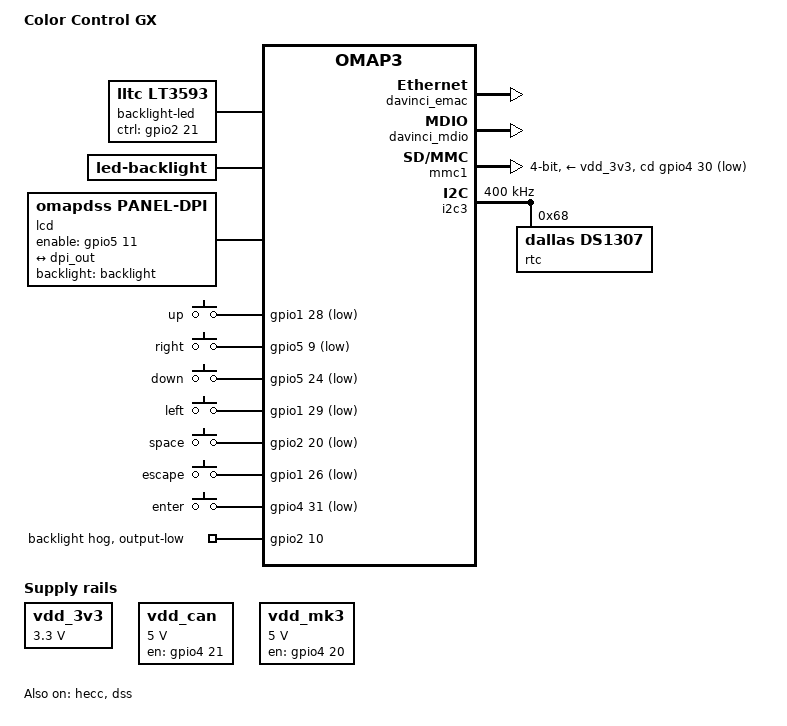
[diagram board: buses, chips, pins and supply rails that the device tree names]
/dts-v1/;

#include "am3517-tam3517.dtsi"
#include <dt-bindings/input/input.h>
#include <dt-bindings/leds/common.h>

/ {
	model = "Color Control GX";
	compatible = "technexion,am3517-tam3517", "ti,am3517", "ti,omap3";

	aliases {
		display0 = &lcd0;
	};

	reserved-memory {
		#address-cells = <1>;
		#size-cells = <1>;
		ranges;

		fb0_mem: framebuffer@8fe00000 {
			reg = <0x8fe00000 0x200000>;
			no-map;
		};
	};

	backlight-led {
		compatible = "lltc,lt3593";
		pinctrl-names = "default";
		pinctrl-0 = <&backlight_pins>;
		lltc,ctrl-gpios = <&gpio2 21 GPIO_ACTIVE_HIGH>;

		backlight_led: led {
			function = LED_FUNCTION_BACKLIGHT;
			color = <LED_COLOR_ID_WHITE>;
			default-state = "on";
		};
	};

	backlight: backlight {
		compatible = "led-backlight";
		leds = <&backlight_led>;
		default-brightness-level = <31>;
	};

	lcd0: display {
		compatible = "omapdss,panel-dpi";
		pinctrl-names = "default";
		pinctrl-0 = <&lcd_pins>;
		enable-gpios = <&gpio5 11 GPIO_ACTIVE_HIGH>;	/* gpio_139 */
		backlight = <&backlight>;
		label = "lcd";

		port {
			lcd_in: endpoint {
				remote-endpoint = <&dpi_out>;
			};
		};

		panel-timing {
			clock-frequency = <9000000>;
			hactive = <480>;
			vactive = <272>;
			hfront-porch = <3>;
			hback-porch = <2>;
			hsync-len = <42>;
			vback-porch = <2>;
			vfront-porch = <3>;
			vsync-len = <11>;
			hsync-active = <0>;
			vsync-active = <0>;
			de-active = <1>;
			pixelclk-active = <1>;
		};
	};

	gpio-keys {
		compatible = "gpio-keys";
		pinctrl-names = "default";
		pinctrl-0 = <&gpio_keys_pins &gpio_keys_pins2>;
		autorepeat;

		key-up {
			label = "up";
			gpios = <&gpio1 28 GPIO_ACTIVE_LOW>;	/* gpio_28 */
			linux,code = <KEY_UP>;
			wakeup-source;
		};

		key-right {
			label = "right";
			gpios = <&gpio5 9 GPIO_ACTIVE_LOW>;	/* gpio_137 */
			linux,code = <KEY_RIGHT>;
			wakeup-source;
		};

		key-down {
			label = "down";
			gpios = <&gpio5 24 GPIO_ACTIVE_LOW>;	/* gpio_152 */
			linux,code = <KEY_DOWN>;
			wakeup-source;
		};

		key-left {
			label = "left";
			gpios = <&gpio1 29 GPIO_ACTIVE_LOW>;	/* gpio_29 */
			linux,code = <KEY_LEFT>;
			wakeup-source;
		};

		key-middle {
			label = "space";
			gpios = <&gpio2 20 GPIO_ACTIVE_LOW>;	/* gpio_52 */
			linux,code = <KEY_SPACE>;
			wakeup-source;
		};

		key-escape {
			label = "escape";
			gpios = <&gpio1 26 GPIO_ACTIVE_LOW>;	/* gpio_26 */
			linux,code = <KEY_ESC>;
			wakeup-source;
		};

		key-enter {
			label = "enter";
			gpios = <&gpio4 31 GPIO_ACTIVE_LOW>;	/* gpio_127 */
			linux,code = <KEY_ENTER>;
			wakeup-source;
		};
	};

	vdd_3v3: regulator-vdd-3v3 {
		compatible = "regulator-fixed";
		regulator-name = "vdd_3v3";
		regulator-min-microvolt = <3300000>;
		regulator-max-microvolt = <3300000>;
	};

	vdd_can: regulator-vdd-can {
		compatible = "regulator-fixed";
		pinctrl-names = "default";
		pinctrl-0 = <&vdd_can_pins>;
		regulator-name = "vdd_can";
		regulator-min-microvolt = <5000000>;
		regulator-max-microvolt = <5000000>;
		gpio = <&gpio4 21 GPIO_ACTIVE_HIGH>;	/* gpio_117 */
		enable-active-high;
	};

	regulator-vdd-mk3 {
		compatible = "regulator-fixed";
		pinctrl-names = "default";
		pinctrl-0 = <&vdd_mk3_pins>;
		regulator-name = "vdd_mk3";
		regulator-min-microvolt = <5000000>;
		regulator-max-microvolt = <5000000>;
		regulator-boot-on;
		regulator-always-on;
		gpio = <&gpio4 20 GPIO_ACTIVE_HIGH>;	/* gpio_116 */
		enable-active-high;
	};
};

&omap3_pmx_core {
	pinctrl-names = "default";
	pinctrl-0 = <&gpio_pins>;

	gpio_pins: gpio_pins {
		pinctrl-single,pins = <
			/* buzzer */
			OMAP3_CORE1_IOPAD(0x207c, PIN_OUTPUT_PULLDOWN | MUX_MODE4)	/* gpio_35 */

			/* hw revision */
			OMAP3_CORE1_IOPAD(0x21e4, PIN_INPUT | MUX_MODE4)	/* gpio_94 */
			OMAP3_CORE1_IOPAD(0x21e8, PIN_INPUT | MUX_MODE4)	/* gpio_96 */
			OMAP3_CORE1_IOPAD(0x21ec, PIN_INPUT | MUX_MODE4)	/* gpio_98 */

			/* vebus_standby */
			OMAP3_CORE1_IOPAD(0x2186, PIN_OUTPUT_PULLUP | MUX_MODE4)	/* gpio_153 */

			/* mk3_rst */
			OMAP3_CORE1_IOPAD(0x218a, PIN_OUTPUT_PULLDOWN | MUX_MODE4)	/* gpio_155 */

			/* relay */
			OMAP3_CORE1_IOPAD(0x21de, PIN_OUTPUT_PULLDOWN | MUX_MODE4)	/* gpio_182 */

			/* backlight enable */
			OMAP3_CORE1_IOPAD(0x208A, PIN_OUTPUT | MUX_MODE4)	/* gpmc_a9.gpio_42 */

		>;
	};

	backlight_pins: backlight_pins {
		pinctrl-single,pins = <
			OMAP3_CORE1_IOPAD(0x20B2, PIN_OUTPUT | MUX_MODE4)	/* gpmc_ncs2.gpio_53 */
		>;
	};

	gpio_keys_pins: gpio_keys_pins {
		pinctrl-single,pins = <
			OMAP3_CORE1_IOPAD(0x20B0, PIN_INPUT_PULLUP | MUX_MODE4) /* gpio_52, middle */
			OMAP3_CORE1_IOPAD(0x2166, PIN_INPUT_PULLUP | MUX_MODE4) /* gpio_137, right */
			OMAP3_CORE1_IOPAD(0x2184, PIN_INPUT_PULLUP | MUX_MODE4) /* gpio_152, down */
			OMAP3_CORE1_IOPAD(0x2152, PIN_INPUT_PULLUP | MUX_MODE4) /* gpio_127, enter */
		>;
	};

	i2c3_pins: i2c3_pins {
		pinctrl-single,pins = <
			OMAP3_CORE1_IOPAD(0x21c2, PIN_INPUT_PULLUP | MUX_MODE0) /* i2c3_scl.i2c3_scl */
			OMAP3_CORE1_IOPAD(0x21c4, PIN_INPUT_PULLUP | MUX_MODE0) /* i2c3_sda.i2c3_sda */
		>;
	};

	mmc1_pins: mmc1_pins {
		pinctrl-single,pins = <
			OMAP3_CORE1_IOPAD(0x2144, PIN_INPUT_PULLUP | MUX_MODE0)	/* sdmmc1_clk.sdmmc1_clk */
			OMAP3_CORE1_IOPAD(0x2146, PIN_INPUT_PULLUP | MUX_MODE0)	/* sdmmc1_cmd.sdmmc1_cmd */
			OMAP3_CORE1_IOPAD(0x2148, PIN_INPUT_PULLUP | MUX_MODE0)	/* sdmmc1_dat0.sdmmc1_dat0 */
			OMAP3_CORE1_IOPAD(0x214a, PIN_INPUT_PULLUP | MUX_MODE0)	/* sdmmc1_dat1.sdmmc1_dat1 */
			OMAP3_CORE1_IOPAD(0x214c, PIN_INPUT_PULLUP | MUX_MODE0)	/* sdmmc1_dat2.sdmmc1_dat2 */
			OMAP3_CORE1_IOPAD(0x214e, PIN_INPUT_PULLUP | MUX_MODE0)	/* sdmmc1_dat3.sdmmc1_dat3 */
			OMAP3_CORE1_IOPAD(0x2150, PIN_INPUT_PULLUP | MUX_MODE4)	/* sdmmc1_dat4.gpio_126 */
		>;
	};

	dss_dpi_pins: dss_dpi_pins {
		pinctrl-single,pins = <
			OMAP3_CORE1_IOPAD(0x20d4, PIN_OUTPUT | MUX_MODE0)   /* dss_pclk.dss_pclk */
			OMAP3_CORE1_IOPAD(0x20d6, PIN_OUTPUT | MUX_MODE0)   /* dss_hsync.dss_hsync */
			OMAP3_CORE1_IOPAD(0x20d8, PIN_OUTPUT | MUX_MODE0)   /* dss_vsync.dss_vsync */
			OMAP3_CORE1_IOPAD(0x20da, PIN_OUTPUT | MUX_MODE0)   /* dss_acbias.dss_acbias */
			OMAP3_CORE1_IOPAD(0x20dc, PIN_OUTPUT | MUX_MODE0)   /* dss_data0.dss_data0 */
			OMAP3_CORE1_IOPAD(0x20de, PIN_OUTPUT | MUX_MODE0)   /* dss_data1.dss_data1 */
			OMAP3_CORE1_IOPAD(0x20e0, PIN_OUTPUT | MUX_MODE0)   /* dss_data2.dss_data2 */
			OMAP3_CORE1_IOPAD(0x20e2, PIN_OUTPUT | MUX_MODE0)   /* dss_data3.dss_data3 */
			OMAP3_CORE1_IOPAD(0x20e4, PIN_OUTPUT | MUX_MODE0)   /* dss_data4.dss_data4 */
			OMAP3_CORE1_IOPAD(0x20e6, PIN_OUTPUT | MUX_MODE0)   /* dss_data5.dss_data5 */
			OMAP3_CORE1_IOPAD(0x20e8, PIN_OUTPUT | MUX_MODE0)   /* dss_data6.dss_data6 */
			OMAP3_CORE1_IOPAD(0x20ea, PIN_OUTPUT | MUX_MODE0)   /* dss_data7.dss_data7 */
			OMAP3_CORE1_IOPAD(0x20ec, PIN_OUTPUT | MUX_MODE0)   /* dss_data8.dss_data8 */
			OMAP3_CORE1_IOPAD(0x20ee, PIN_OUTPUT | MUX_MODE0)   /* dss_data9.dss_data9 */
			OMAP3_CORE1_IOPAD(0x20f0, PIN_OUTPUT | MUX_MODE0)   /* dss_data10.dss_data10 */
			OMAP3_CORE1_IOPAD(0x20f2, PIN_OUTPUT | MUX_MODE0)   /* dss_data11.dss_data11 */
			OMAP3_CORE1_IOPAD(0x20f4, PIN_OUTPUT | MUX_MODE0)   /* dss_data12.dss_data12 */
			OMAP3_CORE1_IOPAD(0x20f6, PIN_OUTPUT | MUX_MODE0)   /* dss_data13.dss_data13 */
			OMAP3_CORE1_IOPAD(0x20f8, PIN_OUTPUT | MUX_MODE0)   /* dss_data14.dss_data14 */
			OMAP3_CORE1_IOPAD(0x20fa, PIN_OUTPUT | MUX_MODE0)   /* dss_data15.dss_data15 */
			OMAP3_CORE1_IOPAD(0x20fc, PIN_OUTPUT | MUX_MODE0)   /* dss_data16.dss_data16 */
			OMAP3_CORE1_IOPAD(0x20fe, PIN_OUTPUT | MUX_MODE0)   /* dss_data17.dss_data17 */
			OMAP3_CORE1_IOPAD(0x2100, PIN_OUTPUT | MUX_MODE0)   /* dss_data18.dss_data18 */
			OMAP3_CORE1_IOPAD(0x2102, PIN_OUTPUT | MUX_MODE0)   /* dss_data19.dss_data19 */
			OMAP3_CORE1_IOPAD(0x2104, PIN_OUTPUT | MUX_MODE0)   /* dss_data20.dss_data20 */
			OMAP3_CORE1_IOPAD(0x2106, PIN_OUTPUT | MUX_MODE0)   /* dss_data21.dss_data21 */
			OMAP3_CORE1_IOPAD(0x2108, PIN_OUTPUT | MUX_MODE0)   /* dss_data22.dss_data22 */
			OMAP3_CORE1_IOPAD(0x210a, PIN_OUTPUT | MUX_MODE0)   /* dss_data23.dss_data23 */
		>;
	};

	lcd_pins: lcd_pins {
		pinctrl-single,pins = <
			OMAP3_CORE1_IOPAD(0x216a, PIN_OUTPUT | MUX_MODE4)	/* sdmmc2_dat7.gpio_139 */
		>;
	};

	hecc_pins: hecc_pins {
		pinctrl-single,pins = <
			OMAP3_CORE1_IOPAD(0x2214, PIN_OUTPUT | MUX_MODE0)		/* hecc1_txd.hecc1_txd */
			OMAP3_CORE1_IOPAD(0x2216, PIN_INPUT | MUX_MODE0)		/* hecc1_rxd.hecc1_rxd */
		>;
	};

	vdd_can_pins: vdd_can_pins {
		pinctrl-single,pins = <
			OMAP3_CORE1_IOPAD(0x213e, PIN_OUTPUT | MUX_MODE4)	/* mcbsp2_clkx.gpio_117 */
		>;
	};

	vdd_mk3_pins: vdd_mk3_pins {
		pinctrl-single,pins = <
			OMAP3_CORE1_IOPAD(0x213c, PIN_OUTPUT | MUX_MODE4)	/* mcbsp2_fsx.gpio_116 */
		>;
	};

	uart2_pins: uart2_pins {
		pinctrl-single,pins = <
			OMAP3_CORE1_IOPAD(0x217a, PIN_INPUT | MUX_MODE0)		/* uart2_rx */
			OMAP3_CORE1_IOPAD(0x2178, PIN_OUTPUT | MUX_MODE0)		/* uart2_tx */
		>;
	};

	uart3_pins: uart3_pins {
		pinctrl-single,pins = <
			OMAP3_CORE1_IOPAD(0x219e, PIN_INPUT | MUX_MODE0)		/* uart3_rx */
			OMAP3_CORE1_IOPAD(0x21a0, PIN_OUTPUT | MUX_MODE0)		/* uart3_tx */
		>;
	};
};

&omap3_pmx_core2 {
	gpio_keys_pins2: gpio_keys_pins2 {
		pinctrl-single,pins = <
			OMAP3430_CORE2_IOPAD(0x25F4, PIN_INPUT_PULLUP | MUX_MODE4)	/* gpio_26, esc */
			OMAP3430_CORE2_IOPAD(0x25F8, PIN_INPUT_PULLUP | MUX_MODE4)	/* gpio_28, up */
			OMAP3430_CORE2_IOPAD(0x25FA, PIN_INPUT_PULLUP | MUX_MODE4)	/* gpio_29, left */
		>;
	};
};

&hecc {
	pinctrl-names = "default";
	pinctrl-0 = <&hecc_pins>;
	xceiver-supply = <&vdd_can>;
	status = "okay";
};

&davinci_emac {
	status = "okay";
};

&davinci_mdio {
	status = "okay";
};

&dss {
	pinctrl-names = "default";
	pinctrl-0 = <&dss_dpi_pins>;
	memory-region = <&fb0_mem>;
	status = "okay";

	port {
		dpi_out: endpoint {
			remote-endpoint = <&lcd_in>;
			data-lines = <24>;
		};
	};
};

&mmc1 {
	vmmc-supply = <&vdd_3v3>;
	bus-width = <4>;
	pinctrl-names = "default";
	pinctrl-0 = <&mmc1_pins>;
	cd-gpios = <&gpio4 30 GPIO_ACTIVE_LOW>; /* gpio_126 */
	status = "okay";
};

&mmc2 {
	status = "disabled";
};

&mmc3 {
	status = "disabled";
};

&i2c3 {
	pinctrl-names = "default";
	clock-frequency = <400000>;
	pinctrl-0 = <&i2c3_pins>;
	status = "okay";

	rtc@68 {
		compatible = "dallas,ds1307";
		reg = <0x68>;
	};
};

&uart2 {
	pinctrl-names = "default";
	pinctrl-0 = <&uart2_pins>;
	interrupts-extended = <&intc 73 &omap3_pmx_core OMAP3_UART2_RX>;
};

&uart3 {
	pinctrl-names = "default";
	pinctrl-0 = <&uart3_pins>;
	interrupts-extended = <&intc 74 &omap3_pmx_core OMAP3_UART3_RX>;
};

&nand {
	partitions {
		compatible = "fixed-partitions";
		#address-cells = <1>;
		#size-cells = <1>;

		partition@0 {
			reg = <0x0 0x20000>;
			label = "spl1";
		};

		partition@20000 {
			reg = <0x20000 0x20000>;
			label = "spl2";
		};

		partition@40000 {
			reg = <0x40000 0x20000>;
			label = "spl3";
		};

		partition@60000 {
			reg = <0x60000 0x20000>;
			label = "spl4";
		};

		partition@80000 {
			reg = <0x80000 0x100000>;
			label = "u-boot";
		};

		partition@180000 {
			reg = <0x00180000 0x00040000>;
			label = "env1";
		};

		partition@1c0000 {
			reg = <0x001c0000 0x00040000>;
			label = "env2";
		};

		partition@200000 {
			reg = <0x00200000 0x00100000>;
			label = "u-boot2";
		};

		partition@300000 {
			reg = <0x00300000 0x00040000>;
			label = "unused";
		};

		partition@340000 {
			reg = <0x00340000 0x000c0000>;
			label = "splash";
		};

		partition@400000 {
			reg = <0x00400000 0x00600000>;
			label = "kernel1";
		};

		partition@a00000 {
			reg = <0x00a00000 0x00600000>;
			label = "kernel2";
		};

		partition@1000000 {
			reg = <0x01000000 0x1f000000>;
			label = "ubisystem";
		};
	};
};

&gpio2 {
	gpio-line-names = "buzzer";
	gpio-line-numbers = <3>;

	backlight-hog {
		gpio-hog;
		gpios = <10 GPIO_ACTIVE_HIGH>;
		output-low;
		line-name = "backlight";
	};
};

&gpio3 {
	gpio-line-names = "hwrev_0";
	gpio-line-numbers = <30>;
};

&gpio4 {
	gpio-line-names = "hwrev_2", "hwrev_1", "mmc_cd";
	gpio-line-numbers = <0>, <2>, <30>;
};

&gpio5 {
	gpio-line-names = "vebus_standby", "mkx_rst";
	gpio-line-numbers = <25>, <27>;
};

&gpio6 {
	gpio-line-names = "relay_1";
	gpio-line-numbers = <22>;
};
